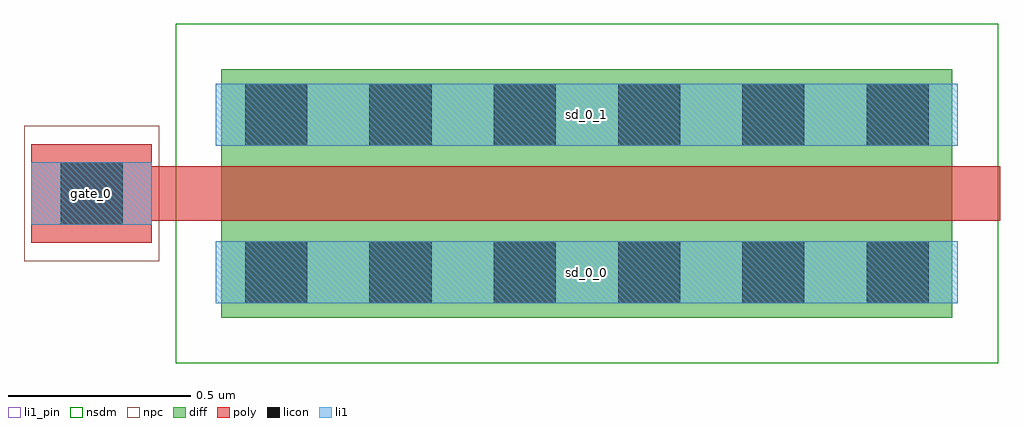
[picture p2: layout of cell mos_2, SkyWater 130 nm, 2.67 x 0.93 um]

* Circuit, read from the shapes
.subckt mos_2 gate_0 sd_0_0 sd_0_1
XM1 sd_0_1 gate_0 sd_0_0 VSUBS sky130_fd_pr__nfet_01v8 w=2 l=0.15
.ends

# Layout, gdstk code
import gdstk
lib = gdstk.Library(unit=1e-6, precision=1e-09)
def R(c, l, rs):  # rectangles x0, y0, x1, y1
    for r in rs: c.add(gdstk.rectangle(r[:2], r[2:], *l))
def A(c, l, x, y, w, h, nx, ny, dx, dy):  # array of equal rectangles
    R(c, l, [(x+i*dx, y+j*dy, x+i*dx+w, y+j*dy+h) for i in range(nx) for j in range(ny)])
diff = (65, 20)
poly = (66, 20)
licon = (66, 44)
li1_pin = (67, 16)
li1 = (67, 20)
nsdm = (93, 44)
npc = (95, 20)

via = lib.new_cell('via')
R(via, poly, [(-0.165,-0.135,0.165,0.135)])
R(via, licon, [(-0.085,-0.085,0.085,0.085)])
R(via, li1, [(-0.165,-0.085,0.165,0.085)])
R(via, npc, [(-0.185,-0.185,0.185,0.185)])

via_16 = lib.new_cell('via_16')
R(via_16, diff, [(0.005,-0.125,1.995,0.125)])
A(via_16, licon, 0.065, -0.085, 0.17, 0.17, 6, 1, 0.34, 0)
R(via_16, li1, [(-0.015,-0.085,2.015,0.085)])

mos_2 = lib.new_cell('mos_2')
R(mos_2, diff, [(0,0,2,0.68)])
R(mos_2, poly, [(-0.19,0.265,2.13,0.415)])
R(mos_2, li1_pin, [(-0.015,0.04,2.015,0.21), (-0.52,0.255,-0.19,0.425), (-0.015,0.47,2.015,0.64)])
R(mos_2, li1, [(-0.015,0.04,2.015,0.21), (-0.52,0.255,-0.19,0.425), (-0.015,0.47,2.015,0.64)])
R(mos_2, nsdm, [(-0.125,-0.125,2.125,0.805)])
R(mos_2, npc, [(-0.54,0.155,-0.17,0.525)])
mos_2.add(gdstk.Reference(via, (-0.355,0.34)))
mos_2.add(gdstk.Reference(via_16, (0,0.125)))
mos_2.add(gdstk.Reference(via_16, (0,0.555)))
mos_2.add(gdstk.Label('sd_0_1', (1,0.555), layer=67, texttype=5))
mos_2.add(gdstk.Label('sd_0_0', (1,0.125), layer=67, texttype=5))
mos_2.add(gdstk.Label('gate_0', (-0.355,0.34), layer=67, texttype=5))

lib.write_gds('mos_2.gds')
